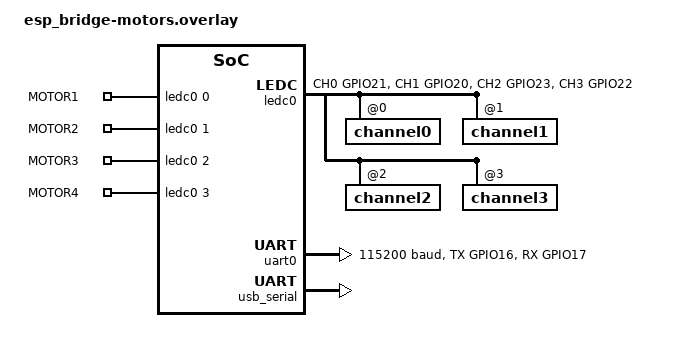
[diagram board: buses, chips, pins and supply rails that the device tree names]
/*
 * SPDX-License-Identifier: Apache-2.0
 *
 * esp_bridge --mode motors: the WiFi bridge AND all four motor gates.
 *
 * THIS OVERLAY DRIVES THE GATES. esp_bridge.overlay -- the default mode -- does
 * the opposite: it disables ledc0 and hogs these same four pins as pulled-down
 * INPUTS. Both cannot be true at once, and neither can workloads/motor_safe
 * (which is the gate probe every motor measurement in this investigation came
 * from) or workloads/esp_motors (which is this, without the radio). One ESP,
 * one image, four gates: choosing this one gives up the other three.
 *
 * WHY THIS EXISTS AT ALL. FPGA ball F13 is dead as an output -- a bare-metal
 * bitstream driving the four pads at 4/8/12/16 % reads back M1=40 M2=80 M3=120
 * M4=0 per mille at the gates, and the same ball configured as an input reads
 * the carrier's 10k pulldown, so the net is intact and the IOB is not. Motors
 * therefore live on the ESP. There is exactly one wire between the FPGA and the
 * ESP, and an untethered flight needs both motor frames and telemetry on it, so
 * the radio and the gates have to be in the same image. See
 * docs/wireless-telemetry-bringup.md.
 *
 * Everything here is deliberately identical to the two overlays it merges, so
 * that "the merged image behaves like the two it replaces" is checkable by
 * diff rather than by reading:
 *
 *   from esp_bridge.overlay   uart0 on GPIO16/17 at 115200, console on usb_serial
 *   from esp_motors.overlay   ledc0 channels 0-3 on GPIO21/20/23/22, 20 kHz
 *
 * PIN MAP, from the routed PCB (same as motor_4.overlay and esp_motors.overlay):
 *   MOTOR1 = GPIO21   MOTOR2 = GPIO20   MOTOR3 = GPIO23   MOTOR4 = GPIO22
 * Active-high into the SI2302 gate: duty 0 really is motor off.
 *
 * FPGA LINK, resolved from the riskybirdv3 PCB netlist and reconciled against
 * hardware/zephyr/fpga-esp-uart.overlay:
 *
 *   ESP pin            net       JB1 pad   FPGA ball   TE0712 name   direction
 *   U0TXD/GPIO16 (31)  /U0TXD    95        E13         J1_96         ESP -> FPGA rxd
 *   U0RXD/GPIO17 (30)  /U0RXD    97        F14         J1_98         FPGA txd -> ESP
 *
 * The pad numbers and the J1_ numbers are off by one and both are correct: JB1
 * pad N is the carrier footprint's numbering, J1_N is the TE0712 module's B2B
 * pin naming. The FPGA ball is the unambiguous identifier.
 *
 * THE CONSOLE HAS TO MOVE off uart0, because uart0 IS the FPGA link: leave it
 * there and every printk is transmitted into the flight controller's receiver.
 * It goes to the native USB Serial/JTAG unit on the USB-C port -- the same cable
 * used to flash.
 */

#include <zephyr/dt-bindings/pwm/pwm.h>
#include <zephyr/dt-bindings/pinctrl/esp32c6-pinctrl.h>

/ {
	chosen {
		zephyr,console = &usb_serial;
		zephyr,shell-uart = &usb_serial;
	};

	aliases {
		/* What the application opens. Named for what is on the other end
		 * rather than for the controller. */
		fpga-uart = &uart0;

		/* The presence of pwm-motor0 is what switches the motor half of
		 * workloads/esp_bridge/src/main.c on (HAVE_MOTORS). A build
		 * without this alias contains no code path to a gate at all. */
		pwm-motor0 = &pwm_motor0;
		pwm-motor1 = &pwm_motor1;
		pwm-motor2 = &pwm_motor2;
		pwm-motor3 = &pwm_motor3;
	};

	pwmleds {
		compatible = "pwm-leds";

		/*
		 * 50000 ns = 20 kHz. motor_1/motor_4.overlay carry 20000 in this
		 * cell while their applications pass 50000 ns explicitly to
		 * pwm_set_dt(), so the cell there is dead weight that disagrees
		 * with the comment above it. Stated correctly here, matching
		 * esp_motors.overlay.
		 */
		pwm_motor0: pwm_motor_gpio21 {
			label = "MOTOR1";
			pwms = <&ledc0 0 50000 PWM_POLARITY_NORMAL>;
		};

		pwm_motor1: pwm_motor_gpio20 {
			label = "MOTOR2";
			pwms = <&ledc0 1 50000 PWM_POLARITY_NORMAL>;
		};

		pwm_motor2: pwm_motor_gpio23 {
			label = "MOTOR3";
			pwms = <&ledc0 2 50000 PWM_POLARITY_NORMAL>;
		};

		pwm_motor3: pwm_motor_gpio22 {
			label = "MOTOR4";
			pwms = <&ledc0 3 50000 PWM_POLARITY_NORMAL>;
		};
	};
};

&pinctrl {
	ledc0_default: ledc0_default {
		group1 {
			pinmux = <LEDC_CH0_GPIO21>,
				 <LEDC_CH1_GPIO20>,
				 <LEDC_CH2_GPIO23>,
				 <LEDC_CH3_GPIO22>;
			output-enable;
		};
	};

	uart0_fpga: uart0_fpga {
		group1 {
			pinmux = <UART0_TX_GPIO16>;
			output-high;
		};
		group2 {
			pinmux = <UART0_RX_GPIO17>;
			bias-pull-up;
		};
	};
};

&ledc0 {
	pinctrl-0 = <&ledc0_default>;
	pinctrl-names = "default";
	status = "okay";
	#address-cells = <1>;
	#size-cells = <0>;

	channel0@0 {
		reg = <0x0>;
		timer = <0>;
	};

	channel1@1 {
		reg = <0x1>;
		timer = <0>;
	};

	channel2@2 {
		reg = <0x2>;
		timer = <0>;
	};

	channel3@3 {
		reg = <0x3>;
		timer = <0>;
	};
};

&uart0 {
	status = "okay";
	pinctrl-0 = <&uart0_fpga>;
	pinctrl-names = "default";
	/*
	 * Must match hardware/zephyr/fpga-esp-uart.overlay's current-speed, and
	 * changing it means changing both files in the same commit.
	 *
	 * 115200 was MEASURED on the bench (693 frames, zero CRC errors, zero
	 * noise bytes), which settles the disagreement the other overlays still
	 * record: esp_bridge.overlay claimed esp_uart had proved it,
	 * fpga-esp-uart.overlay and esp_motors.overlay said to treat it as
	 * unverified. It is verified. It is also the bottleneck this whole design
	 * is shaped around -- 11520 B/s total, 700 B/s of it motor frames -- so
	 * see the bandwidth table in docs/wireless-telemetry-bringup.md before
	 * deciding a higher telemetry rate is free.
	 */
	current-speed = <115200>;
};

/* Carries the console, the ESP's own RBLINK status line, and the flashing. */
&usb_serial {
	status = "okay";
};
